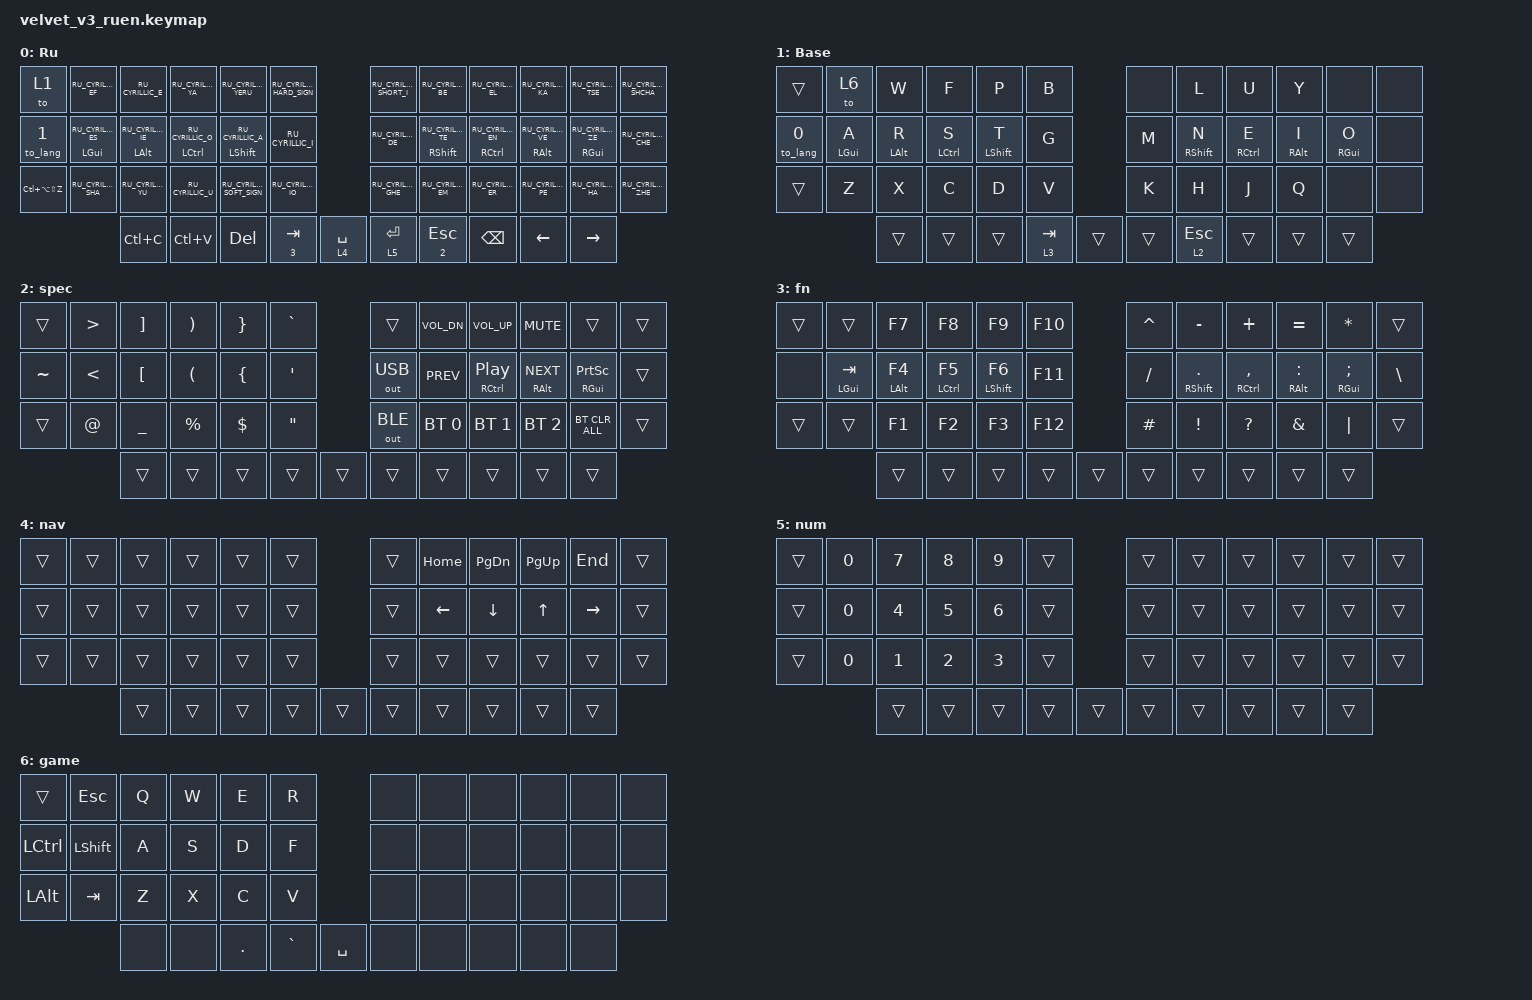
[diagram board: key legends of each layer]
#include "keys_ru.h"
#include <behaviors.dtsi>
#include <dt-bindings/zmk/bt.h>
#include <dt-bindings/zmk/keys.h>
#include <dt-bindings/zmk/outputs.h>

&mt {
    flavor = "balanced";
    tapping-term-ms = <300>;
};

&lt {
    flavor = "hold-preferred";
    tapping-term-ms = <300>;
};

/ {
    combos { compatible = "zmk,combos"; };

    macros {
        kp_lang: kp_lang {
            compatible = "zmk,behavior-macro";
            #binding-cells = <0>;
            bindings = <&kp CAPS>;
            label = "KP_LANG";
            wait-ms = <2>;
            tap-ms = <2>;
        };

        to_lang: tog_lang {
            compatible = "zmk,behavior-macro-one-param";
            #binding-cells = <1>;
            bindings = <&kp_lang &macro_param_1to1 &to MACRO_PLACEHOLDER>;
            label = "TOG_LANG";
            wait-ms = <2>;
            tap-ms = <2>;
        };

        hold_ru: mt_lang {
            compatible = "zmk,behavior-macro-one-param";
            #binding-cells = <1>;
            bindings =
                <&macro_press>,
                <&mo 1 &macro_param_1to1 &kp MACRO_PLACEHOLDER>,
                <&macro_pause_for_release>,
                <&macro_release>,
                <&mo 1 &macro_param_1to1 &kp MACRO_PLACEHOLDER>;

            wait-ms = <0>;
            tap-ms = <0>;
        };

        mo_ru: mo_ru {
            compatible = "zmk,behavior-macro-one-param";
            #binding-cells = <1>;
            bindings =
                <&macro_press>,
                <&macro_param_1to1 &mo MACRO_PLACEHOLDER>,
                <&macro_tap>,
                <&kp_lang>,
                <&macro_pause_for_release>,
                <&macro_release>,
                <&macro_param_1to1 &mo MACRO_PLACEHOLDER>,
                <&macro_tap>,
                <&kp_lang>;

            label = "MO_RU";
            wait-ms = <2>;
            tap-ms = <2>;
        };

        kp_double: kp_double {
            compatible = "zmk,behavior-macro-one-param";
            #binding-cells = <1>;
            bindings =
                <&macro_tap>,
                <&macro_param_1to1 &kp MACRO_PLACEHOLDER>,
                <&macro_press>,
                <&macro_param_1to1 &kp MACRO_PLACEHOLDER>,
                <&macro_pause_for_release>,
                <&macro_release>,
                <&macro_param_1to1 &kp MACRO_PLACEHOLDER>;

            label = "KP_DOUBLE";
            wait-ms = <2>;
            tap-ms = <2>;
        };

        mo_lang: mo_lang {
            compatible = "zmk,behavior-macro";
            #binding-cells = <0>;
            bindings =
                <&kp_lang>,
                <&macro_press>,
                <&mo 1>,
                <&macro_pause_for_release>,
                <&macro_release>,
                <&mo 1>,
                <&macro_tap>,
                <&kp_lang>;

            label = "MO_LANG";
            wait-ms = <2>;
            tap-ms = <2>;
        };
    };

    behaviors {
        mt_ru: mt_ru {
            compatible = "zmk,behavior-hold-tap";
            label = "MT_RU";
            bindings = <&hold_ru>, <&kp>;

            #binding-cells = <2>;
            tapping-term-ms = <300>;
            flavor = "balanced";
        };

        lt_ru: lt_ru {
            compatible = "zmk,behavior-hold-tap";
            label = "LT_RU";
            bindings = <&mo_ru>, <&kp>;

            #binding-cells = <2>;
            tapping-term-ms = <300>;
            flavor = "hold-preferred";
        };

        mo_to: mo_to {
            compatible = "zmk,behavior-hold-tap";
            label = "MO_TO";
            bindings = <&mo>, <&to>;

            #binding-cells = <2>;
            tapping-term-ms = <300>;
            flavor = "hold-preferred";
        };

        ru_mo_to: ru_mo_to {
            compatible = "zmk,behavior-hold-tap";
            label = "RU_MO_TO";
            bindings = <&mo_ru>, <&to>;

            #binding-cells = <2>;
            tapping-term-ms = <300>;
            flavor = "hold-preferred";
        };
    };

    keymap {
        compatible = "zmk,keymap";

        ru {
            display-name = "Ru";
            bindings = <
&to 1              &kp RU_CYRILLIC_EF          &kp RU_CYRILLIC_E           &kp RU_CYRILLIC_YA          &kp RU_CYRILLIC_YERU       &kp RU_CYRILLIC_HARD_SIGN                              &kp RU_CYRILLIC_SHORT_I  &kp RU_CYRILLIC_BE        &kp RU_CYRILLIC_EL           &kp RU_CYRILLIC_KA          &kp RU_CYRILLIC_TSE         &kp RU_CYRILLIC_SHCHA
&to_lang 1         &mt_ru LGUI RU_CYRILLIC_ES  &mt_ru LALT RU_CYRILLIC_IE  &mt_ru LCTRL RU_CYRILLIC_O  &mt LSHFT RU_CYRILLIC_A    &kp RU_CYRILLIC_I                                      &kp RU_CYRILLIC_DE       &mt RSHFT RU_CYRILLIC_TE  &mt_ru RCTRL RU_CYRILLIC_EN  &mt_ru RALT RU_CYRILLIC_VE  &mt_ru RGUI RU_CYRILLIC_ZE  &kp RU_CYRILLIC_CHE
&kp LC(LA(LS(Z)))  &kp RU_CYRILLIC_SHA         &kp RU_CYRILLIC_YU          &kp RU_CYRILLIC_U           &kp RU_CYRILLIC_SOFT_SIGN  &kp RU_CYRILLIC_IO                                     &kp RU_CYRILLIC_GHE      &kp RU_CYRILLIC_EM        &kp RU_CYRILLIC_ER           &kp RU_CYRILLIC_PE          &kp RU_CYRILLIC_HA          &kp RU_CYRILLIC_ZHE
                                               &kp LC(C)                   &kp LC(V)                   &kp DELETE                 &lt_ru 3 TAB               &lt 4 SPACE    &lt 5 ENTER  &lt_ru 2 ESC             &kp BACKSPACE             &kp LEFT                     &kp RIGHT
            >;
        };

        en {
            bindings = <
&trans      &to 6       &kp W       &kp F        &kp P        &kp B                        &none      &kp L        &kp U        &kp Y       &none       &none
&to_lang 0  &mt LGUI A  &mt LALT R  &mt LCTRL S  &mt LSHFT T  &kp G                        &kp M      &mt RSHFT N  &mt RCTRL E  &mt RALT I  &mt RGUI O  &none
&trans      &kp Z       &kp X       &kp C        &kp D        &kp V                        &kp K      &kp H        &kp J        &kp Q       &none       &none
                        &trans      &trans       &trans       &lt 3 TAB  &trans    &trans  &lt 2 ESC  &trans       &trans       &trans
            >;

            display-name = "Base";
        };

        spec {
            bindings = <
&trans     &kp GT  &kp RBKT   &kp RPAR   &kp RBRC  &kp GRAVE                    &trans        &kp K_VOL_DN  &kp K_VOL_UP    &kp C_MUTE       &trans          &trans
&kp TILDE  &kp LT  &kp LBKT   &kp LPAR   &kp LBRC  &kp APOS                     &out OUT_USB  &kp C_PREV    &mt RCTRL C_PP  &mt RALT C_NEXT  &mt RGUI PSCRN  &trans
&trans     &kp AT  &kp UNDER  &kp PRCNT  &kp DLLR  &kp DQT                      &out OUT_BLE  &bt BT_SEL 0  &bt BT_SEL 1    &bt BT_SEL 2     &bt BT_CLR_ALL  &trans
                   &trans     &trans     &trans    &trans     &trans    &trans  &trans        &trans        &trans          &trans
            >;
        };

        fn {
            bindings = <
&trans  &trans        &kp F7       &kp F8        &kp F9        &kp F10                    &kp CARET  &kp MINUS      &kp PLUS         &kp EQUAL       &kp ASTRK      &trans
&none   &mt LGUI TAB  &mt LALT F4  &mt LCTRL F5  &mt LSHFT F6  &kp F11                    &kp FSLH   &mt RSHFT DOT  &mt RCTRL COMMA  &mt RALT COLON  &mt RGUI SEMI  &kp BSLH
&trans  &trans        &kp F1       &kp F2        &kp F3        &kp F12                    &kp HASH   &kp EXCL       &kp QMARK        &kp AMPS        &kp PIPE       &trans
                      &trans       &trans        &trans        &trans   &trans    &trans  &trans     &trans         &trans           &trans
            >;
        };

        nav {
            bindings = <
&trans  &trans  &trans  &trans  &trans  &trans                    &trans  &kp HOME  &kp PAGE_DOWN  &kp PAGE_UP  &kp END    &trans
&trans  &trans  &trans  &trans  &trans  &trans                    &trans  &kp LEFT  &kp DOWN       &kp UP       &kp RIGHT  &trans
&trans  &trans  &trans  &trans  &trans  &trans                    &trans  &trans    &trans         &trans       &trans     &trans
                &trans  &trans  &trans  &trans  &trans    &trans  &trans  &trans    &trans         &trans
            >;
        };

        num {
            bindings = <
&trans  &kp N0  &kp N7  &kp N8  &kp N9  &trans                    &trans  &trans  &trans  &trans  &trans  &trans
&trans  &kp N0  &kp N4  &kp N5  &kp N6  &trans                    &trans  &trans  &trans  &trans  &trans  &trans
&trans  &kp N0  &kp N1  &kp N2  &kp N3  &trans                    &trans  &trans  &trans  &trans  &trans  &trans
                &trans  &trans  &trans  &trans  &trans    &trans  &trans  &trans  &trans  &trans
            >;
        };

        game {
            bindings = <
&trans     &kp ESC    &kp Q  &kp W  &kp E    &kp R                          &none  &none  &none  &none  &none  &none
&kp LCTRL  &kp LSHFT  &kp A  &kp S  &kp D    &kp F                          &none  &none  &none  &none  &none  &none
&kp LALT   &kp TAB    &kp Z  &kp X  &kp C    &kp V                          &none  &none  &none  &none  &none  &none
                      &none  &none  &kp DOT  &kp GRAVE  &kp SPACE    &none  &none  &none  &none  &none
            >;
        };
    };
};
